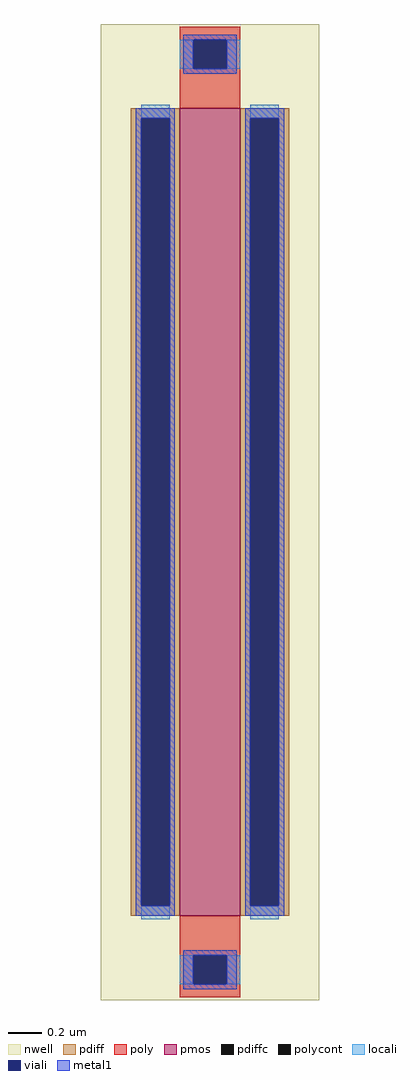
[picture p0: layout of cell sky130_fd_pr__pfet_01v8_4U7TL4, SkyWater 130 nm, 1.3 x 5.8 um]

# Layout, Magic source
magic
tech sky130A
magscale 1 2
<< nwell >>
rect -130 -580 130 580
<< pmos >>
rect -36 -480 36 480
<< pdiff >>
rect -94 468 -36 480
rect -94 -468 -82 468
rect -48 -468 -36 468
rect -94 -480 -36 -468
rect 36 468 94 480
rect 36 -468 48 468
rect 82 -468 94 468
rect 36 -480 94 -468
<< pdiffc >>
rect -82 -468 -48 468
rect 48 -468 82 468
<< poly >>
rect -36 561 36 577
rect -36 527 -20 561
rect 20 527 36 561
rect -36 480 36 527
rect -36 -527 36 -480
rect -36 -561 -20 -527
rect 20 -561 36 -527
rect -36 -577 36 -561
<< polycont >>
rect -20 527 20 561
rect -20 -561 20 -527
<< locali >>
rect -36 527 -20 561
rect 20 527 36 561
rect -82 468 -48 484
rect -82 -484 -48 -468
rect 48 468 82 484
rect 48 -484 82 -468
rect -36 -561 -20 -527
rect 20 -561 36 -527
<< viali >>
rect -20 527 20 561
rect -82 -468 -48 468
rect 48 -468 82 468
rect -20 -561 20 -527
<< metal1 >>
rect -32 561 32 567
rect -32 527 -20 561
rect 20 527 32 561
rect -32 521 32 527
rect -88 468 -42 480
rect -88 -468 -82 468
rect -48 -468 -42 468
rect -88 -480 -42 -468
rect 42 468 88 480
rect 42 -468 48 468
rect 82 -468 88 468
rect 42 -480 88 -468
rect -32 -527 32 -521
rect -32 -561 -20 -527
rect 20 -561 32 -527
rect -32 -567 32 -561
<< properties >>
string gencell sky130_fd_pr__pfet_01v8
string library sky130
string parameters w 4.8 l 0.36 m 1 nf 1 diffcov 100 polycov 100 guard 0 glc 1 grc 1 gtc 1 gbc 1 tbcov 100 rlcov 100 topc 1 botc 1 poverlap 0 doverlap 1 lmin 0.15 wmin 0.42 compatible {sky130_fd_pr__pfet_01v8  sky130_fd_pr__pfet_01v8_lvt sky130_fd_pr__pfet_01v8_hvt  sky130_fd_pr__pfet_g5v0d10v5} full_metal 1 viasrc 100 viadrn 100 viagate 100 viagb 0 viagr 0 viagl 0 viagt 0
<< end >>
